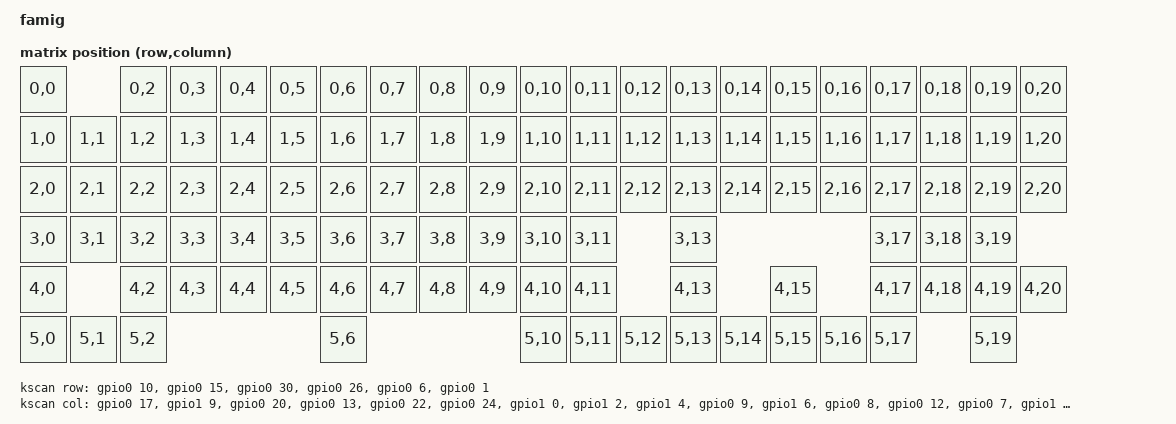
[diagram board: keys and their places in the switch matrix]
/dts-v1/;
#include <nordic/nrf52840_qiaa.dtsi>
#include <dt-bindings/zmk/matrix_transform.h>
#include "famig-layouts.dtsi"

/ {
    model = "famig";
    compatible = "famig";

    chosen {
        zephyr,code-partition = &code_partition;
        zephyr,console = &cdc_acm_uart;
        zephyr,sram = &sram0;
        zephyr,flash = &flash0;
        zmk,battery = &vbatt;
        zmk,backlight = &leds;
        zmk,physical-layout = &famig_layout1;
        zmk,studio-rpc = &cdc_acm_uart;
    };

    kscan: kscan {
        compatible = "zmk,kscan-gpio-matrix";
        diode-direction = "col2row";
        wakeup-source;

        col-gpios
		  = <&gpio0 17 GPIO_ACTIVE_HIGH>  //0
		  , <&gpio1  9 GPIO_ACTIVE_HIGH>  //1
		  , <&gpio0 20 GPIO_ACTIVE_HIGH>  //2
		  , <&gpio0 13 GPIO_ACTIVE_HIGH>  //3
          , <&gpio0 22 GPIO_ACTIVE_HIGH>  //4
		  , <&gpio0 24 GPIO_ACTIVE_HIGH>  //5
		  , <&gpio1  0 GPIO_ACTIVE_HIGH>  //6
		  , <&gpio1  2 GPIO_ACTIVE_HIGH>  //7
		  , <&gpio1  4 GPIO_ACTIVE_HIGH>  //8
          , <&gpio0  9 GPIO_ACTIVE_HIGH>  //9
		  , <&gpio1  6 GPIO_ACTIVE_HIGH>  //9
		  , <&gpio0  8 GPIO_ACTIVE_HIGH>  //10
		  , <&gpio0 12 GPIO_ACTIVE_HIGH>  //11
		  , <&gpio0  7 GPIO_ACTIVE_HIGH>  //12
          , <&gpio1 10 GPIO_ACTIVE_HIGH>  //13
		  , <&gpio0  3 GPIO_ACTIVE_HIGH>  //14
		  , <&gpio0 28 GPIO_ACTIVE_HIGH>  //15
		  , <&gpio1 13 GPIO_ACTIVE_HIGH>  //16
		  , <&gpio0  2 GPIO_ACTIVE_HIGH>  //17
          , <&gpio0 29 GPIO_ACTIVE_HIGH>  //18
		  , <&gpio0 31 GPIO_ACTIVE_HIGH>  //19
            ;

        row-gpios
			= <&gpio0 10 (GPIO_ACTIVE_HIGH | GPIO_PULL_DOWN)>  //0
			, <&gpio0 15 (GPIO_ACTIVE_HIGH | GPIO_PULL_DOWN)>  //1
			, <&gpio0 30 (GPIO_ACTIVE_HIGH | GPIO_PULL_DOWN)>  //2
			, <&gpio0 26 (GPIO_ACTIVE_HIGH | GPIO_PULL_DOWN)>  //3
			, <&gpio0  6 (GPIO_ACTIVE_HIGH | GPIO_PULL_DOWN)>  //4
			, <&gpio0  1 (GPIO_ACTIVE_HIGH | GPIO_PULL_DOWN)>  //5
            ;
    };

    famig_transform: matrix_transform {
        compatible = "zmk,matrix-transform";
        columns = <21>;
        rows = <6>;

        map = <
RC(0,0)           RC(0,2)  RC(0,3)  RC(0,4)  RC(0,5)  RC(0,6)  RC(0,7)  RC(0,8)  RC(0,9)  RC(0,10)  RC(0,11)  RC(0,12)  RC(0,13)    RC(0,14)  RC(0,15)  RC(0,16)     RC(0,17)  RC(0,18)  RC(0,19)  RC(0,20)
RC(1,0)  RC(1,1)  RC(1,2)  RC(1,3)  RC(1,4)  RC(1,5)  RC(1,6)  RC(1,7)  RC(1,8)  RC(1,9)  RC(1,10)  RC(1,11)  RC(1,12)  RC(1,13)    RC(1,14)  RC(1,15)  RC(1,16)     RC(1,17)  RC(1,18)  RC(1,19)  RC(1,20)
RC(2,0)  RC(2,1)  RC(2,2)  RC(2,3)  RC(2,4)  RC(2,5)  RC(2,6)  RC(2,7)  RC(2,8)  RC(2,9)  RC(2,10)  RC(2,11)  RC(2,12)  RC(2,13)    RC(2,14)  RC(2,15)  RC(2,16)     RC(2,17)  RC(2,18)  RC(2,19)  RC(2,20)
RC(3,0)  RC(3,1)  RC(3,2)  RC(3,3)  RC(3,4)  RC(3,5)  RC(3,6)  RC(3,7)  RC(3,8)  RC(3,9)  RC(3,10)  RC(3,11)            RC(3,13)                                     RC(3,17)  RC(3,18)  RC(3,19) 
RC(4,0)           RC(4,2)  RC(4,3)  RC(4,4)  RC(4,5)  RC(4,6)  RC(4,7)  RC(4,8)  RC(4,9)  RC(4,10)  RC(4,11)            RC(4,13)              RC(4,15)               RC(4,17)  RC(4,18)  RC(4,19)  RC(4,20)
RC(5,0)  RC(5,1)  RC(5,2)                             RC(5,6)                             RC(5,10)  RC(5,11)  RC(5,12)  RC(5,13)    RC(5,14)  RC(5,15)  RC(5,16)     RC(5,17)            RC(5,19) 
        >;
    };

    leds: leds {
        compatible = "gpio-leds";
        red_led: led_0 { 
            gpios = <&gpio1 10 GPIO_ACTIVE_LOW>;
        };
    };

    vbatt: vbatt {
         compatible = "zmk,battery-voltage-divider";
         io-channels = <&adc 2>;
         output-ohms = <2000000>;
         full-ohms = <(2000000 + 82000)>;
     };
};

&famig_layout1 {
    kscan = <&kscan>;
    transform = <&famig_transform>;
};

&adc {
    status = "okay";
};

&gpiote {
    status = "okay";
};

&gpio0 {
    status = "okay";
};

&gpio1 {
    status = "okay";
};

zephyr_udc0: &usbd {
    status = "okay";
    cdc_acm_uart: cdc_acm_uart {
        compatible = "zephyr,cdc-acm-uart";
    };
};

&flash0 {
    partitions {
        compatible = "fixed-partitions";
        #address-cells = <1>;
        #size-cells = <1>;

        code_partition: partition@1000 {
            reg = <DT_SIZE_K(4) DT_SIZE_K(844)>;
        };

        storage_partition: partition@d4000 {
            reg = <DT_SIZE_K(848) DT_SIZE_K(128)>;
        };

        boot_partition: partition@f4000 {
            reg = <DT_SIZE_K(976) DT_SIZE_K(48)>;
        };
    };
};
